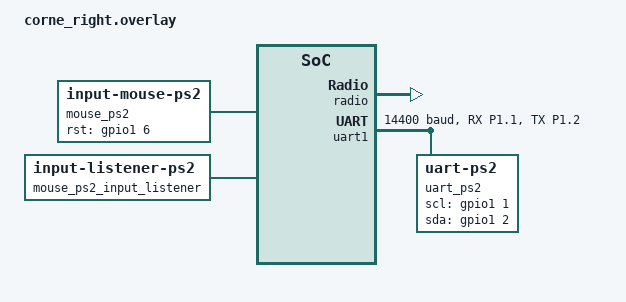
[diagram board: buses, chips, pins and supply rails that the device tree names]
// ─── VlaCorne – Right Half Overlay (TrackPoint via PS/2 UART) ────────────────
//
// Hardware wiring:
//   TrackPoint pin 1  (CLK)  -> P1.01  (101)
//   TrackPoint pin 2  (RST)  -> P1.06  (D9)
//   TrackPoint pin 6  (DATA) -> P1.02  (102)
//
// P1.01 and P1.02 are used instead of P0.20/P0.17 because:
//   1. The Corne shield's own board overlay enables &i2c0 on P0.17/P0.20 for
//      the OLED at the DTS level — even without CONFIG_ZMK_DISPLAY, the i2c0
//      node remains "okay" and holds those pins, preventing clean pin release
//      during the PS/2 write inhibit sequence.
//   2. P1.01 and P1.02 have zero board-level or shield-level peripheral
//      assignments on nice_nano_v2; they are pure GPIO pads.

// ── Root node ─────────────────────────────────────────────────────────────────
/ {
    mouse_ps2: mouse_ps2 {
        compatible = "zmk,input-mouse-ps2";
        ps2-device = <&uart_ps2>;
        rst-gpios = <&gpio1 6 GPIO_ACTIVE_HIGH>;
        // tp-sensitivity = <160>;  // 0-255, default 128. Uncomment to tune.
    };

    mouse_ps2_input_listener: mouse_ps2_input_listener {
        compatible = "zmk,input-listener-ps2";
        device = <&mouse_ps2>;
        // scale-multiplier = <1>;  // pointer speed scaling: multiplier/divisor
        // scale-divisor = <2>;
    };
};

// ── UART1 pinctrl ─────────────────────────────────────────────────────────────
// Using UART1 (not UART0) because nice_nano_v2 board DTS pre-configures UART0,
// which can prevent pinctrl_apply_state(SLEEP) from fully releasing P0.20 during
// PS/2 write inhibit — causing scl timeout. UART1 has no board-level DTS config
// on nice_nano_v2, so there is no conflict.
//
// The ps2_uart driver hardcodes pins[1] (i.e. the second flattened psel entry
// across all groups) as the TX/SDA pin it reads back at init time for logging
// and for GPIO bit-bang writes.  Zephyr's nRF pinctrl fills pins[] group-by-
// group in DTS order, so:
//   group1 → pins[0]   (must be RX = CLK)
//   group2 → pins[1]   (must be TX = DATA/SDA)
&pinctrl {
    uart1_default: uart1_default {
                    // RX = CLK line -> P1.01 / 101
        group1 {
            psels = <NRF_PSEL(UART_RX, 1, 1)>;
            bias-pull-up;
        };
        // TX = DATA/SDA line -> P1.02 / 102
        group2 {
            psels = <NRF_PSEL(UART_TX, 1, 2)>;
        };
    };

    uart1_sleep: uart1_sleep {
        group1 {
            psels = <NRF_PSEL(UART_RX, 1, 1)>,
                    <NRF_PSEL(UART_TX, 1, 2)>;
            low-power-enable;
        };
    };
};

// ── Interrupt priority table ───────────────────────────────────────────────────
//
// Generated by simulating gen_interrupt_priority_overrides.py
// (infused-kim/zmk fork, app/scripts/) against the nRF52840 SoC DTS.
//
// Why this is needed (from Kconfig.uart):
//   "PS/2 events must be processed within 30–50 µs. […] All other interrupts
//    have to be set to priority 3 to prevent them from delaying the BT
//    interrupts."
//
// The script reads every node with an 'interrupts' property from the final
// zephyr.dts and applies: new_priority = old_priority + 2, except GPIOTE
// which is hardcoded to 0.
//
// nRF52840 base state (NRF_DEFAULT_IRQ_PRIORITY = 1 from nrf_common.dtsi):
//   All SoC peripherals start at priority 1.
//   GPIOTE is the exception: the SoC DTSI sets it to 5 explicitly.
//
// After CONFIG_PS2_UART=y (Kconfig.uart defaults) + our explicit Kconfig:
//   BT LLL   (radio, timer0)      → priority 1  (runtime via NVIC_SetPriority)
//   BT ULL H (rtc0, egu4/swi4)   → priority 2  (runtime)
//   BT ULL L (egu5/swi5)         → priority 3  (runtime, matches DTS below)
//   GPIOTE                        → priority 0  (DTS, PS/2 write clock ISR)
//   All other peripherals         → priority 3  (DTS, non-preemptible by BT LLL/ULL)
//
// Note: DTS overrides for BT-owned peripherals (radio, timer0, rtc0, egu4,
// egu5) are written here but are overridden at runtime by the BT controller
// via NVIC_SetPriority(); they have no net effect on BT scheduling and are
// included only to match the script output exactly.
//
// If a DTS label below causes a compile error, your zephyr.dts may omit that
// peripheral. Remove the failing block and rebuild.
//
// To regenerate from the actual CI zephyr.dts (more accurate for your build):
//   1. Open the GitHub Actions run in a browser → build/corne_right job →
//      step "corne_right – nice_nano_v2 Devicetree file" → copy the full DTS
//      text into a local file (e.g. /tmp/zephyr.dts)
//   2. pip install devicetree
//   3. python app/scripts/gen_interrupt_priority_overrides.py /tmp/zephyr.dts
//   4. Replace the blocks below with the script output.
//
// nRF52840 IRQ map  (irq-number  peripheral  base-priority → new-priority):
//    0  clock / power     1 → 3
//    1  radio             1 → 3   (BT runtime overrides to LLL_PRIO=1)
//    2  uart0             1 → 3
//    3  i2c0 / spi0       1 → 3
//    4  i2c1 / spi1       1 → 3
//    5  nfct              1 → 3
//    6  gpiote            5 → 0   (hardcoded; PS/2 write clock ISR)
//    7  adc               1 → 3
//    8  timer0            1 → 3   (BT runtime overrides to LLL_PRIO=1)
//    9  timer1            1 → 3
//   10  timer2            1 → 3
//   11  rtc0              1 → 3   (BT runtime overrides to ULL_HIGH=2)
//   12  temp              1 → 3
//   13  rng               1 → 3
//   14  ecb               1 → 3
//   15  ccm               1 → 3
//   16  wdt               1 → 3
//   17  rtc1              1 → 3
//   18  qdec              1 → 3
//   19  comp              1 → 3
//   20  egu0 / swi0       1 → 3
//   21  egu1 / swi1       1 → 3
//   22  egu2 / swi2       1 → 3
//   23  egu3 / swi3       1 → 3
//   24  egu4 / swi4       1 → 3   (BT runtime overrides to ULL_HIGH=2)
//   25  egu5 / swi5       1 → 3   (BT runtime overrides to ULL_LOW=3)
//   26  timer3            1 → 3
//   27  timer4            1 → 3
//   28  pwm0              1 → 3
//   29  pdm0              1 → 3
//   33  pwm1              1 → 3
//   34  pwm2              1 → 3
//   35  spi2              1 → 3
//   36  rtc2              1 → 3
//   37  i2s0              1 → 3
//   39  usbd              1 → 3
//   40  uart1             1 → 3
//   41  qspi              1 → 3
//   42  cryptocell        1 → 3
//   45  pwm3              1 → 3
//   47  spi3              1 → 3

&gpiote {
    interrupts = <6 0>;
};

&clock {
    interrupts = <0 3>;
};

&power {
    interrupts = <0 3>;
};

&radio {
    interrupts = <1 3>;
};

&uart0 {
    interrupts = <2 3>;
};

&i2c0 {
    interrupts = <3 3>;
};

&i2c1 {
    interrupts = <4 3>;
};

&nfct {
    interrupts = <5 3>;
};

&adc {
    interrupts = <7 3>;
};

&timer0 {
    interrupts = <8 3>;
};

&timer1 {
    interrupts = <9 3>;
};

&timer2 {
    interrupts = <10 3>;
};

&rtc0 {
    interrupts = <11 3>;
};

&temp {
    interrupts = <12 3>;
};

&rng {
    interrupts = <13 3>;
};

&ecb {
    interrupts = <14 3>;
};

&ccm {
    interrupts = <15 3>;
};

&wdt {
    interrupts = <16 3>;
};

&rtc1 {
    interrupts = <17 3>;
};

&qdec {
    interrupts = <18 3>;
};

&comp {
    interrupts = <19 3>;
};

&egu0 {
    interrupts = <20 3>;
};

&egu1 {
    interrupts = <21 3>;
};

&egu2 {
    interrupts = <22 3>;
};

&egu3 {
    interrupts = <23 3>;
};

&egu4 {
    interrupts = <24 3>;
};

&egu5 {
    interrupts = <25 3>;
};

&timer3 {
    interrupts = <26 3>;
};

&timer4 {
    interrupts = <27 3>;
};

&pwm0 {
    interrupts = <28 3>;
};

&pdm0 {
    interrupts = <29 3>;
};

&pwm1 {
    interrupts = <33 3>;
};

&pwm2 {
    interrupts = <34 3>;
};

&spi2 {
    interrupts = <35 3>;
};

&rtc2 {
    interrupts = <36 3>;
};

&i2s0 {
    interrupts = <37 3>;
};

&usbd {
    interrupts = <39 3>;
};

&uart1 {
    interrupts = <40 3>;
};

&qspi {
    interrupts = <41 3>;
};

&cryptocell {
    interrupts = <42 3>;
};

&pwm3 {
    interrupts = <45 3>;
};

&spi3 {
    interrupts = <47 3>;
};

// ── Disable i2c0 (Corne shield enables it on P0.17/P0.20 for OLED at DTS level)
// Without this, i2c0 holds P0.17 and P0.20 "okay" even with CONFIG_ZMK_DISPLAY
// disabled, which prevents UART from cleanly releasing those pins. Not needed
// here since we're now on P1.01/P1.02, but added as belt-and-suspenders to
// prevent i2c0 from interfering with anything on P0.17/P0.20.
&i2c0 {
    status = "disabled";
};

// ── UART1 peripheral (PS/2 bus) ───────────────────────────────────────────────
// UART1 on P1.01 (CLK/RX) and P1.02 (DATA/TX): pure GPIO pads on the SuperMini
// bottom with no board-level or shield-level peripheral assignments.
&uart1 {
    status = "okay";
    current-speed = <14400>;
    pinctrl-0 = <&uart1_default>;
    pinctrl-1 = <&uart1_sleep>;
    pinctrl-names = "default", "sleep";

    uart_ps2: uart_ps2 {
        compatible = "uart-ps2";
        /// SCL = CLK line -> P1.01 / 101
        scl-gpios = <&gpio1 1 GPIO_ACTIVE_HIGH>;
        // SDA = DATA line -> P1.02 / 102
        sda-gpios = <&gpio1 2 GPIO_ACTIVE_HIGH>;
        status = "okay";
    };
};
